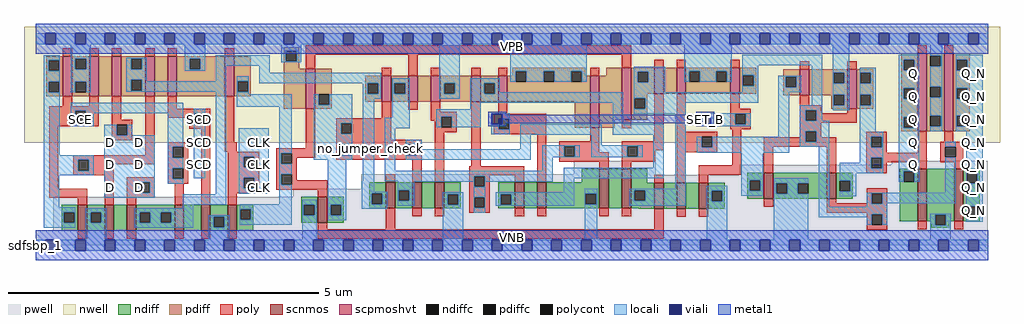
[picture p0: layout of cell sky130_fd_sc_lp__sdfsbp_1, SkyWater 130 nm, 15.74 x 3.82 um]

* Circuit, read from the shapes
.subckt sky130_fd_sc_lp__sdfsbp_1 CLK D SCD SCE SET_B VGND VNB VPB VPWR Q Q_N
XM1 VGND SCE n1 VNB sky130_fd_pr__nfet_01v8 w=0.42 l=0.15
XM2 n2 n1 VGND VNB sky130_fd_pr__nfet_01v8 w=0.42 l=0.15
XM3 n3 D n2 VNB sky130_fd_pr__nfet_01v8 w=0.42 l=0.15
XM4 n4 SCE n3 VNB sky130_fd_pr__nfet_01v8 w=0.42 l=0.15
XM5 VGND SCD n4 VNB sky130_fd_pr__nfet_01v8 w=0.42 l=0.15
XM6 n5 CLK VGND VNB sky130_fd_pr__nfet_01v8 w=0.42 l=0.15
XM7 n6 n5 VGND VNB sky130_fd_pr__nfet_01v8 w=0.42 l=0.15
XM8 n7 n5 n3 VNB sky130_fd_pr__nfet_01v8 w=0.42 l=0.15
XM9 n8 n6 n7 VNB sky130_fd_pr__nfet_01v8 w=0.42 l=0.15
XM10 VGND n9 n8 VNB sky130_fd_pr__nfet_01v8 w=0.42 l=0.15
XM11 n10 n7 n9 VNB sky130_fd_pr__nfet_01v8 w=0.42 l=0.15
XM12 VGND SET_B n10 VNB sky130_fd_pr__nfet_01v8 w=0.42 l=0.15
XM13 n11 n7 VGND VNB sky130_fd_pr__nfet_01v8 w=0.64 l=0.15
XM14 n12 n6 n11 VNB sky130_fd_pr__nfet_01v8 w=0.64 l=0.15
XM15 n13 n5 n12 VNB sky130_fd_pr__nfet_01v8 w=0.42 l=0.15
XM16 n14 n15 n13 VNB sky130_fd_pr__nfet_01v8 w=0.42 l=0.15
XM17 VGND SET_B n14 VNB sky130_fd_pr__nfet_01v8 w=0.42 l=0.15
XM18 VGND n12 n15 VNB sky130_fd_pr__nfet_01v8 w=0.42 l=0.15
XM19 n16 n12 VGND VNB sky130_fd_pr__nfet_01v8 w=0.42 l=0.15
XM20 VGND n16 Q VNB sky130_fd_pr__nfet_01v8 w=0.84 l=0.15
XM21 Q_N n12 VGND VNB sky130_fd_pr__nfet_01v8 w=0.84 l=0.15
XM22 VPWR SCE n1 VPB sky130_fd_pr__pfet_01v8_hvt w=0.64 l=0.15
XM23 n17 SCE VPWR VPB sky130_fd_pr__pfet_01v8_hvt w=0.64 l=0.15
XM24 n3 D n17 VPB sky130_fd_pr__pfet_01v8_hvt w=0.64 l=0.15
XM25 n18 n1 n3 VPB sky130_fd_pr__pfet_01v8_hvt w=0.64 l=0.15
XM26 VPWR SCD n18 VPB sky130_fd_pr__pfet_01v8_hvt w=0.64 l=0.15
XM27 n5 CLK VPWR VPB sky130_fd_pr__pfet_01v8_hvt w=0.64 l=0.15
XM28 n6 n5 VPWR VPB sky130_fd_pr__pfet_01v8_hvt w=0.64 l=0.15
XM29 n7 n6 n3 VPB sky130_fd_pr__pfet_01v8_hvt w=0.42 l=0.15
XM30 n19 n5 n7 VPB sky130_fd_pr__pfet_01v8_hvt w=0.42 l=0.15
XM31 VPWR n9 n19 VPB sky130_fd_pr__pfet_01v8_hvt w=0.42 l=0.15
XM32 n9 n7 VPWR VPB sky130_fd_pr__pfet_01v8_hvt w=0.42 l=0.15
XM33 VPWR SET_B n9 VPB sky130_fd_pr__pfet_01v8_hvt w=0.42 l=0.15
XM34 n20 n7 VPWR VPB sky130_fd_pr__pfet_01v8_hvt w=0.84 l=0.15
XM35 n12 n5 n20 VPB sky130_fd_pr__pfet_01v8_hvt w=0.84 l=0.15
XM36 n21 n6 n12 VPB sky130_fd_pr__pfet_01v8_hvt w=0.42 l=0.15
XM37 VPWR n15 n21 VPB sky130_fd_pr__pfet_01v8_hvt w=0.42 l=0.15
XM38 n12 SET_B VPWR VPB sky130_fd_pr__pfet_01v8_hvt w=0.42 l=0.15
XM39 VPWR n12 n15 VPB sky130_fd_pr__pfet_01v8_hvt w=0.42 l=0.15
XM40 n16 n12 VPWR VPB sky130_fd_pr__pfet_01v8_hvt w=0.64 l=0.15
XM41 VPWR n16 Q VPB sky130_fd_pr__pfet_01v8_hvt w=1.26 l=0.15
XM42 Q_N n12 VPWR VPB sky130_fd_pr__pfet_01v8_hvt w=1.26 l=0.15
.ends

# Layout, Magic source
magic
tech sky130A
magscale 1 2
<< nwell >>
rect -38 331 3110 704
<< pwell >>
rect 1735 229 1999 273
rect 2761 260 3071 272
rect 1050 228 1999 229
rect 2269 228 3071 260
rect 1050 183 3071 228
rect 831 157 3071 183
rect 57 49 3071 157
rect 0 0 3072 49
<< scnmos >>
rect 136 47 166 131
rect 222 47 252 131
rect 294 47 324 131
rect 448 47 478 131
rect 533 47 563 131
rect 619 47 649 131
rect 910 73 940 157
rect 1129 119 1159 203
rect 1215 119 1245 203
rect 1287 119 1317 203
rect 1545 119 1575 203
rect 1617 119 1647 203
rect 1818 119 1848 247
rect 1890 119 1920 247
rect 1995 118 2025 202
rect 2067 118 2097 202
rect 2139 118 2169 202
rect 2348 150 2378 234
rect 2552 150 2582 234
rect 2844 78 2874 246
rect 2962 78 2992 246
<< scpmoshvt >>
rect 87 481 117 609
rect 173 481 203 609
rect 245 481 275 609
rect 353 481 383 609
rect 425 481 455 609
rect 610 481 640 609
rect 871 441 901 569
rect 1116 463 1146 547
rect 1202 463 1232 547
rect 1274 463 1304 547
rect 1405 463 1435 547
rect 1491 463 1521 547
rect 1788 379 1818 547
rect 1890 404 1920 572
rect 1995 488 2025 572
rect 2067 488 2097 572
rect 2240 488 2270 572
rect 2464 484 2494 568
rect 2618 440 2648 568
rect 2844 367 2874 619
rect 2930 367 2960 619
<< ndiff >>
rect 1076 167 1129 203
rect 83 106 136 131
rect 83 72 91 106
rect 125 72 136 106
rect 83 47 136 72
rect 166 106 222 131
rect 166 72 177 106
rect 211 72 222 106
rect 166 47 222 72
rect 252 47 294 131
rect 324 106 448 131
rect 324 72 335 106
rect 369 72 403 106
rect 437 72 448 106
rect 324 47 448 72
rect 478 47 533 131
rect 563 92 619 131
rect 563 58 574 92
rect 608 58 619 92
rect 563 47 619 58
rect 649 116 702 131
rect 649 82 660 116
rect 694 82 702 116
rect 649 47 702 82
rect 857 130 910 157
rect 857 96 865 130
rect 899 96 910 130
rect 857 73 910 96
rect 940 130 993 157
rect 940 96 951 130
rect 985 96 993 130
rect 1076 133 1084 167
rect 1118 133 1129 167
rect 1076 119 1129 133
rect 1159 178 1215 203
rect 1159 144 1170 178
rect 1204 144 1215 178
rect 1159 119 1215 144
rect 1245 119 1287 203
rect 1317 165 1370 203
rect 1317 131 1328 165
rect 1362 131 1370 165
rect 1317 119 1370 131
rect 1761 203 1818 247
rect 940 73 993 96
rect 1492 165 1545 203
rect 1492 131 1500 165
rect 1534 131 1545 165
rect 1492 119 1545 131
rect 1575 119 1617 203
rect 1647 166 1818 203
rect 1647 132 1773 166
rect 1807 132 1818 166
rect 1647 119 1818 132
rect 1848 119 1890 247
rect 1920 202 1973 247
rect 2295 209 2348 234
rect 1920 178 1995 202
rect 1920 144 1931 178
rect 1965 144 1995 178
rect 1920 119 1995 144
rect 1945 118 1995 119
rect 2025 118 2067 202
rect 2097 118 2139 202
rect 2169 176 2222 202
rect 2169 142 2180 176
rect 2214 142 2222 176
rect 2295 175 2303 209
rect 2337 175 2348 209
rect 2295 150 2348 175
rect 2378 200 2552 234
rect 2378 166 2389 200
rect 2423 166 2457 200
rect 2491 166 2552 200
rect 2378 150 2552 166
rect 2582 208 2635 234
rect 2787 238 2844 246
rect 2582 174 2593 208
rect 2627 174 2635 208
rect 2787 204 2799 238
rect 2833 204 2844 238
rect 2582 150 2635 174
rect 2169 118 2222 142
rect 2787 78 2844 204
rect 2874 98 2962 246
rect 2874 78 2901 98
rect 2889 64 2901 78
rect 2935 78 2962 98
rect 2992 234 3045 246
rect 2992 200 3003 234
rect 3037 200 3045 234
rect 2992 126 3045 200
rect 2992 92 3003 126
rect 3037 92 3045 126
rect 2992 78 3045 92
rect 2935 64 2947 78
rect 2889 56 2947 64
<< pdiff >>
rect 799 627 849 639
rect 34 597 87 609
rect 34 563 42 597
rect 76 563 87 597
rect 34 527 87 563
rect 34 493 42 527
rect 76 493 87 527
rect 34 481 87 493
rect 117 601 173 609
rect 117 567 128 601
rect 162 567 173 601
rect 117 527 173 567
rect 117 493 128 527
rect 162 493 173 527
rect 117 481 173 493
rect 203 481 245 609
rect 275 601 353 609
rect 275 567 308 601
rect 342 567 353 601
rect 275 533 353 567
rect 275 499 308 533
rect 342 499 353 533
rect 275 481 353 499
rect 383 481 425 609
rect 455 601 610 609
rect 455 567 497 601
rect 531 567 610 601
rect 455 481 610 567
rect 640 529 693 609
rect 640 495 651 529
rect 685 495 693 529
rect 640 481 693 495
rect 799 593 807 627
rect 841 593 849 627
rect 799 569 849 593
rect 799 441 871 569
rect 901 487 954 569
rect 1536 562 1773 572
rect 1536 547 1548 562
rect 901 453 912 487
rect 946 453 954 487
rect 1063 522 1116 547
rect 1063 488 1071 522
rect 1105 488 1116 522
rect 1063 463 1116 488
rect 1146 522 1202 547
rect 1146 488 1157 522
rect 1191 488 1202 522
rect 1146 463 1202 488
rect 1232 463 1274 547
rect 1304 522 1405 547
rect 1304 488 1317 522
rect 1351 488 1405 522
rect 1304 463 1405 488
rect 1435 522 1491 547
rect 1435 488 1446 522
rect 1480 488 1491 522
rect 1435 463 1491 488
rect 1521 528 1548 547
rect 1582 528 1638 562
rect 1672 528 1727 562
rect 1761 547 1773 562
rect 2791 599 2844 619
rect 1840 547 1890 572
rect 1761 528 1788 547
rect 1521 463 1788 528
rect 901 441 954 453
rect 1738 379 1788 463
rect 1818 404 1890 547
rect 1920 560 1995 572
rect 1920 526 1941 560
rect 1975 526 1995 560
rect 1920 488 1995 526
rect 2025 488 2067 572
rect 2097 562 2240 572
rect 2097 528 2108 562
rect 2142 528 2195 562
rect 2229 528 2240 562
rect 2097 488 2240 528
rect 2270 548 2323 572
rect 2270 514 2281 548
rect 2315 514 2323 548
rect 2270 488 2323 514
rect 2411 543 2464 568
rect 2411 509 2419 543
rect 2453 509 2464 543
rect 1920 474 1973 488
rect 1920 440 1931 474
rect 1965 440 1973 474
rect 1920 404 1973 440
rect 1818 379 1868 404
rect 2411 484 2464 509
rect 2494 556 2618 568
rect 2494 522 2573 556
rect 2607 522 2618 556
rect 2494 486 2618 522
rect 2494 484 2573 486
rect 2565 452 2573 484
rect 2607 452 2618 486
rect 2565 440 2618 452
rect 2648 556 2701 568
rect 2648 522 2659 556
rect 2693 522 2701 556
rect 2648 486 2701 522
rect 2648 452 2659 486
rect 2693 452 2701 486
rect 2648 440 2701 452
rect 2791 565 2799 599
rect 2833 565 2844 599
rect 2791 506 2844 565
rect 2791 472 2799 506
rect 2833 472 2844 506
rect 2791 413 2844 472
rect 2791 379 2799 413
rect 2833 379 2844 413
rect 2791 367 2844 379
rect 2874 611 2930 619
rect 2874 577 2885 611
rect 2919 577 2930 611
rect 2874 511 2930 577
rect 2874 477 2885 511
rect 2919 477 2930 511
rect 2874 418 2930 477
rect 2874 384 2885 418
rect 2919 384 2930 418
rect 2874 367 2930 384
rect 2960 599 3013 619
rect 2960 565 2971 599
rect 3005 565 3013 599
rect 2960 506 3013 565
rect 2960 472 2971 506
rect 3005 472 3013 506
rect 2960 418 3013 472
rect 2960 384 2971 418
rect 3005 384 3013 418
rect 2960 367 3013 384
<< ndiffc >>
rect 91 72 125 106
rect 177 72 211 106
rect 335 72 369 106
rect 403 72 437 106
rect 574 58 608 92
rect 660 82 694 116
rect 865 96 899 130
rect 951 96 985 130
rect 1084 133 1118 167
rect 1170 144 1204 178
rect 1328 131 1362 165
rect 1500 131 1534 165
rect 1773 132 1807 166
rect 1931 144 1965 178
rect 2180 142 2214 176
rect 2303 175 2337 209
rect 2389 166 2423 200
rect 2457 166 2491 200
rect 2593 174 2627 208
rect 2799 204 2833 238
rect 2901 64 2935 98
rect 3003 200 3037 234
rect 3003 92 3037 126
<< pdiffc >>
rect 42 563 76 597
rect 42 493 76 527
rect 128 567 162 601
rect 128 493 162 527
rect 308 567 342 601
rect 308 499 342 533
rect 497 567 531 601
rect 651 495 685 529
rect 807 593 841 627
rect 912 453 946 487
rect 1071 488 1105 522
rect 1157 488 1191 522
rect 1317 488 1351 522
rect 1446 488 1480 522
rect 1548 528 1582 562
rect 1638 528 1672 562
rect 1727 528 1761 562
rect 1941 526 1975 560
rect 2108 528 2142 562
rect 2195 528 2229 562
rect 2281 514 2315 548
rect 2419 509 2453 543
rect 1931 440 1965 474
rect 2573 522 2607 556
rect 2573 452 2607 486
rect 2659 522 2693 556
rect 2659 452 2693 486
rect 2799 565 2833 599
rect 2799 472 2833 506
rect 2799 379 2833 413
rect 2885 577 2919 611
rect 2885 477 2919 511
rect 2885 384 2919 418
rect 2971 565 3005 599
rect 2971 472 3005 506
rect 2971 384 3005 418
<< poly >>
rect 87 609 117 635
rect 173 609 203 635
rect 245 609 275 635
rect 353 609 383 635
rect 425 609 455 635
rect 610 609 640 635
rect 871 615 1920 645
rect 2844 619 2874 645
rect 2930 619 2960 645
rect 871 569 901 615
rect 87 449 117 481
rect 173 449 203 481
rect 43 433 203 449
rect 43 399 127 433
rect 161 399 203 433
rect 43 383 203 399
rect 245 405 275 481
rect 245 389 311 405
rect 43 183 73 383
rect 245 355 261 389
rect 295 355 311 389
rect 245 339 311 355
rect 353 291 383 481
rect 425 441 455 481
rect 425 425 563 441
rect 425 411 511 425
rect 495 391 511 411
rect 545 391 563 425
rect 495 375 563 391
rect 121 275 383 291
rect 121 241 137 275
rect 171 261 383 275
rect 425 317 491 333
rect 425 283 441 317
rect 475 283 491 317
rect 171 241 252 261
rect 121 225 252 241
rect 43 153 166 183
rect 136 131 166 153
rect 222 131 252 225
rect 425 249 491 283
rect 294 203 383 219
rect 294 169 333 203
rect 367 169 383 203
rect 425 215 441 249
rect 475 215 491 249
rect 425 199 491 215
rect 294 153 383 169
rect 294 131 324 153
rect 448 131 478 199
rect 533 131 563 375
rect 610 332 640 481
rect 1116 547 1146 573
rect 1202 547 1232 615
rect 1274 547 1304 573
rect 1405 547 1435 573
rect 1491 547 1521 573
rect 1788 547 1818 573
rect 1890 572 1920 615
rect 1995 572 2025 598
rect 2067 572 2097 598
rect 2240 572 2270 598
rect 610 302 649 332
rect 871 313 901 441
rect 1116 409 1146 463
rect 1202 437 1232 463
rect 619 286 721 302
rect 619 252 671 286
rect 705 252 721 286
rect 619 218 721 252
rect 619 184 671 218
rect 705 184 721 218
rect 619 168 721 184
rect 775 297 901 313
rect 775 263 791 297
rect 825 283 901 297
rect 969 393 1146 409
rect 1274 431 1304 463
rect 1274 415 1357 431
rect 1274 401 1307 415
rect 969 359 985 393
rect 1019 359 1146 393
rect 969 341 1146 359
rect 1287 381 1307 401
rect 1341 381 1357 415
rect 1287 365 1357 381
rect 969 325 1245 341
rect 969 291 985 325
rect 1019 291 1195 325
rect 1229 291 1245 325
rect 825 263 841 283
rect 969 275 1245 291
rect 775 229 841 263
rect 775 195 791 229
rect 825 209 841 229
rect 825 195 940 209
rect 1129 203 1159 229
rect 1215 203 1245 275
rect 1287 203 1317 365
rect 1405 255 1435 463
rect 1491 424 1521 463
rect 1477 408 1647 424
rect 1477 374 1493 408
rect 1527 374 1647 408
rect 2464 568 2494 594
rect 2618 568 2648 594
rect 1477 358 1647 374
rect 1398 225 1575 255
rect 1398 223 1464 225
rect 775 179 940 195
rect 619 131 649 168
rect 910 157 940 179
rect 1398 189 1414 223
rect 1448 189 1464 223
rect 1545 203 1575 225
rect 1617 203 1647 358
rect 1788 336 1818 379
rect 1890 378 1920 404
rect 1995 336 2025 488
rect 1689 320 1818 336
rect 1689 286 1705 320
rect 1739 300 1818 320
rect 1890 320 2025 336
rect 1739 286 1848 300
rect 1689 270 1848 286
rect 1818 247 1848 270
rect 1890 286 1908 320
rect 1942 306 2025 320
rect 2067 366 2097 488
rect 2240 440 2270 488
rect 2464 452 2494 484
rect 2240 424 2306 440
rect 2240 390 2256 424
rect 2290 390 2306 424
rect 2240 374 2306 390
rect 2464 436 2533 452
rect 2464 402 2483 436
rect 2517 425 2533 436
rect 2618 425 2648 440
rect 2517 402 2648 425
rect 2464 395 2648 402
rect 2067 350 2198 366
rect 2067 316 2148 350
rect 2182 316 2198 350
rect 1942 286 1998 306
rect 1890 270 1998 286
rect 2067 300 2198 316
rect 1890 247 1920 270
rect 1398 155 1464 189
rect 1398 121 1414 155
rect 1448 121 1464 155
rect 910 51 940 73
rect 1129 51 1159 119
rect 1215 93 1245 119
rect 1287 93 1317 119
rect 1398 105 1464 121
rect 1995 202 2025 228
rect 2067 202 2097 300
rect 2246 258 2276 374
rect 2464 368 2533 395
rect 2464 348 2483 368
rect 2139 228 2276 258
rect 2348 334 2483 348
rect 2517 348 2533 368
rect 2679 350 2745 366
rect 2517 334 2582 348
rect 2348 318 2582 334
rect 2348 234 2378 318
rect 2552 234 2582 318
rect 2679 316 2695 350
rect 2729 316 2745 350
rect 2679 298 2745 316
rect 2844 298 2874 367
rect 2930 334 2960 367
rect 2679 282 2874 298
rect 2679 248 2695 282
rect 2729 268 2874 282
rect 2917 318 2992 334
rect 2917 284 2933 318
rect 2967 284 2992 318
rect 2917 268 2992 284
rect 2729 248 2745 268
rect 2139 202 2169 228
rect 1545 93 1575 119
rect 1617 93 1647 119
rect 1818 93 1848 119
rect 1890 93 1920 119
rect 2679 232 2745 248
rect 2844 246 2874 268
rect 2962 246 2992 268
rect 2681 168 2747 184
rect 2348 124 2378 150
rect 2552 135 2582 150
rect 2681 135 2697 168
rect 2552 134 2697 135
rect 2731 134 2747 168
rect 1995 51 2025 118
rect 2067 92 2097 118
rect 2139 92 2169 118
rect 2552 105 2747 134
rect 2681 100 2747 105
rect 136 21 166 47
rect 222 21 252 47
rect 294 21 324 47
rect 448 21 478 47
rect 533 21 563 47
rect 619 21 649 47
rect 910 21 2025 51
rect 2681 66 2697 100
rect 2731 66 2747 100
rect 2681 50 2747 66
rect 2844 52 2874 78
rect 2962 52 2992 78
<< polycont >>
rect 127 399 161 433
rect 261 355 295 389
rect 511 391 545 425
rect 137 241 171 275
rect 441 283 475 317
rect 333 169 367 203
rect 441 215 475 249
rect 671 252 705 286
rect 671 184 705 218
rect 791 263 825 297
rect 985 359 1019 393
rect 1307 381 1341 415
rect 985 291 1019 325
rect 1195 291 1229 325
rect 791 195 825 229
rect 1493 374 1527 408
rect 1414 189 1448 223
rect 1705 286 1739 320
rect 1908 286 1942 320
rect 2256 390 2290 424
rect 2483 402 2517 436
rect 2148 316 2182 350
rect 1414 121 1448 155
rect 2483 334 2517 368
rect 2695 316 2729 350
rect 2695 248 2729 282
rect 2933 284 2967 318
rect 2697 134 2731 168
rect 2697 66 2731 100
<< locali >>
rect 0 649 31 683
rect 65 649 127 683
rect 161 649 223 683
rect 257 649 319 683
rect 353 649 415 683
rect 449 649 511 683
rect 545 649 607 683
rect 641 649 703 683
rect 737 649 799 683
rect 833 649 895 683
rect 929 649 991 683
rect 1025 649 1087 683
rect 1121 649 1183 683
rect 1217 649 1279 683
rect 1313 649 1375 683
rect 1409 649 1471 683
rect 1505 649 1567 683
rect 1601 649 1663 683
rect 1697 649 1759 683
rect 1793 649 1855 683
rect 1889 649 1951 683
rect 1985 649 2047 683
rect 2081 649 2143 683
rect 2177 649 2239 683
rect 2273 649 2335 683
rect 2369 649 2431 683
rect 2465 649 2527 683
rect 2561 649 2623 683
rect 2657 649 2719 683
rect 2753 649 2815 683
rect 2849 649 2911 683
rect 2945 649 3007 683
rect 3041 649 3072 683
rect 26 597 78 613
rect 26 563 42 597
rect 76 563 78 597
rect 26 527 78 563
rect 26 493 42 527
rect 76 493 78 527
rect 112 601 178 649
rect 112 567 128 601
rect 162 567 178 601
rect 112 527 178 567
rect 112 493 128 527
rect 162 493 178 527
rect 292 601 358 605
rect 292 567 308 601
rect 342 567 358 601
rect 292 533 358 567
rect 481 601 547 649
rect 791 627 857 649
rect 481 567 497 601
rect 531 567 547 601
rect 481 563 547 567
rect 581 579 755 613
rect 791 593 807 627
rect 841 593 857 627
rect 791 591 857 593
rect 292 499 308 533
rect 342 529 358 533
rect 581 529 615 579
rect 721 557 755 579
rect 342 499 615 529
rect 292 495 615 499
rect 26 291 78 493
rect 112 433 475 459
rect 112 399 127 433
rect 161 425 475 433
rect 161 399 187 425
rect 112 383 187 399
rect 221 355 261 389
rect 295 355 311 389
rect 26 275 187 291
rect 26 241 137 275
rect 171 241 187 275
rect 26 225 187 241
rect 26 122 76 225
rect 221 203 383 355
rect 221 169 333 203
rect 367 169 383 203
rect 425 317 475 425
rect 425 283 441 317
rect 425 249 475 283
rect 425 215 441 249
rect 509 425 547 441
rect 509 391 511 425
rect 545 391 547 425
rect 509 216 547 391
rect 425 199 475 215
rect 221 153 383 169
rect 581 165 615 495
rect 649 529 687 545
rect 649 495 651 529
rect 685 495 687 529
rect 721 523 1115 557
rect 649 487 687 495
rect 1055 522 1115 523
rect 1055 488 1071 522
rect 1105 488 1115 522
rect 649 446 825 487
rect 655 286 751 377
rect 655 252 671 286
rect 705 252 751 286
rect 655 218 751 252
rect 655 184 671 218
rect 705 184 751 218
rect 655 166 751 184
rect 785 297 825 446
rect 785 263 791 297
rect 896 453 912 487
rect 946 453 1021 487
rect 896 393 1021 453
rect 896 359 985 393
rect 1019 359 1021 393
rect 896 325 1021 359
rect 896 291 985 325
rect 1019 291 1021 325
rect 896 275 1021 291
rect 1055 472 1115 488
rect 1149 522 1207 538
rect 1149 488 1157 522
rect 1191 488 1207 522
rect 785 229 825 263
rect 785 195 791 229
rect 474 131 615 165
rect 785 132 825 195
rect 26 106 127 122
rect 474 119 508 131
rect 26 72 91 106
rect 125 72 127 106
rect 26 56 127 72
rect 161 106 227 119
rect 161 72 177 106
rect 211 72 227 106
rect 161 17 227 72
rect 319 106 508 119
rect 319 72 335 106
rect 369 72 403 106
rect 437 72 508 106
rect 658 116 825 132
rect 319 56 508 72
rect 558 92 624 97
rect 558 58 574 92
rect 608 58 624 92
rect 658 82 660 116
rect 694 82 825 116
rect 658 66 825 82
rect 859 130 907 146
rect 859 96 865 130
rect 899 96 907 130
rect 558 17 624 58
rect 859 17 907 96
rect 941 130 1001 275
rect 1055 207 1091 472
rect 1149 411 1207 488
rect 1301 522 1367 649
rect 1530 562 1777 649
rect 1301 488 1317 522
rect 1351 488 1367 522
rect 1301 472 1367 488
rect 1401 522 1496 538
rect 1530 528 1548 562
rect 1582 528 1638 562
rect 1672 528 1727 562
rect 1761 528 1777 562
rect 1929 560 2030 576
rect 1401 488 1446 522
rect 1480 494 1496 522
rect 1929 526 1941 560
rect 1975 526 2030 560
rect 2092 562 2245 649
rect 2092 528 2108 562
rect 2142 528 2195 562
rect 2229 528 2245 562
rect 2279 581 2537 615
rect 2279 548 2331 581
rect 1929 494 2030 526
rect 2279 514 2281 548
rect 2315 514 2331 548
rect 2279 494 2331 514
rect 1480 488 1895 494
rect 1401 460 1895 488
rect 1401 438 1435 460
rect 1125 377 1207 411
rect 1291 415 1435 438
rect 1291 381 1307 415
rect 1341 381 1435 415
rect 1469 424 1529 426
rect 1469 390 1471 424
rect 1505 408 1529 424
rect 1125 241 1159 377
rect 1469 374 1493 390
rect 1527 374 1529 408
rect 1861 390 1895 460
rect 1929 474 2331 494
rect 1929 440 1931 474
rect 1965 460 2331 474
rect 2395 543 2469 547
rect 2395 509 2419 543
rect 2453 509 2469 543
rect 2395 493 2469 509
rect 1965 440 2096 460
rect 1929 424 2096 440
rect 1469 358 1529 374
rect 1563 356 1825 390
rect 1861 356 2026 390
rect 1193 325 1245 341
rect 1193 291 1195 325
rect 1229 309 1245 325
rect 1563 309 1597 356
rect 1791 322 1825 356
rect 1229 291 1597 309
rect 1193 275 1597 291
rect 1633 320 1755 322
rect 1633 286 1705 320
rect 1739 286 1755 320
rect 1633 284 1755 286
rect 1791 320 1958 322
rect 1791 286 1908 320
rect 1942 286 1958 320
rect 1791 284 1958 286
rect 1633 241 1667 284
rect 1992 250 2026 356
rect 1125 223 1667 241
rect 1125 207 1414 223
rect 941 96 951 130
rect 985 96 1001 130
rect 1051 173 1091 207
rect 1168 205 1414 207
rect 1168 178 1220 205
rect 1051 167 1134 173
rect 1051 133 1084 167
rect 1118 133 1134 167
rect 1051 117 1134 133
rect 1168 144 1170 178
rect 1204 144 1220 178
rect 1412 189 1414 205
rect 1448 205 1667 223
rect 1703 216 2026 250
rect 1448 189 1450 205
rect 1168 128 1220 144
rect 1312 165 1378 171
rect 1312 131 1328 165
rect 1362 131 1378 165
rect 941 80 1001 96
rect 1312 17 1378 131
rect 1412 155 1450 189
rect 1703 171 1737 216
rect 2062 182 2096 424
rect 2130 424 2306 426
rect 2130 390 2143 424
rect 2177 390 2256 424
rect 2290 390 2306 424
rect 2130 384 2306 390
rect 2395 350 2430 493
rect 2503 452 2537 581
rect 2132 316 2148 350
rect 2182 316 2430 350
rect 2464 436 2537 452
rect 2571 556 2623 649
rect 2783 599 2850 615
rect 2571 522 2573 556
rect 2607 522 2623 556
rect 2571 486 2623 522
rect 2571 452 2573 486
rect 2607 452 2623 486
rect 2571 436 2623 452
rect 2657 556 2709 572
rect 2657 522 2659 556
rect 2693 522 2709 556
rect 2657 486 2709 522
rect 2657 452 2659 486
rect 2693 452 2709 486
rect 2464 402 2483 436
rect 2517 402 2537 436
rect 2464 368 2559 402
rect 2464 334 2483 368
rect 2517 334 2559 368
rect 2464 318 2559 334
rect 2132 299 2430 316
rect 2275 209 2346 299
rect 1412 121 1414 155
rect 1448 121 1450 155
rect 1484 165 1737 171
rect 1484 131 1500 165
rect 1534 131 1737 165
rect 1484 127 1737 131
rect 1771 166 1811 182
rect 1771 132 1773 166
rect 1807 132 1811 166
rect 1412 105 1450 121
rect 1771 17 1811 132
rect 1915 178 2096 182
rect 1915 144 1931 178
rect 1965 144 2096 178
rect 1915 128 2096 144
rect 2164 176 2230 192
rect 2164 142 2180 176
rect 2214 142 2230 176
rect 2275 175 2303 209
rect 2337 175 2346 209
rect 2275 159 2346 175
rect 2380 200 2491 216
rect 2380 166 2389 200
rect 2423 166 2457 200
rect 2164 17 2230 142
rect 2380 17 2491 166
rect 2525 124 2559 318
rect 2657 366 2709 452
rect 2783 565 2799 599
rect 2833 565 2850 599
rect 2783 506 2850 565
rect 2783 472 2799 506
rect 2833 472 2850 506
rect 2783 413 2850 472
rect 2783 379 2799 413
rect 2833 379 2850 413
rect 2657 350 2733 366
rect 2657 316 2695 350
rect 2729 316 2733 350
rect 2657 282 2733 316
rect 2657 266 2695 282
rect 2593 248 2695 266
rect 2729 248 2733 282
rect 2593 232 2733 248
rect 2783 238 2850 379
rect 2885 611 2923 649
rect 2919 577 2923 611
rect 2885 511 2923 577
rect 2919 477 2923 511
rect 2885 418 2923 477
rect 2919 384 2923 418
rect 2885 368 2923 384
rect 2967 599 3055 615
rect 2967 565 2971 599
rect 3005 565 3055 599
rect 2967 506 3055 565
rect 2967 472 2971 506
rect 3005 472 3055 506
rect 2967 418 3055 472
rect 2967 384 2971 418
rect 3005 384 3055 418
rect 2967 368 3055 384
rect 2593 208 2647 232
rect 2627 174 2647 208
rect 2783 204 2799 238
rect 2833 204 2850 238
rect 2933 318 2967 334
rect 2593 158 2647 174
rect 2933 170 2967 284
rect 2681 168 2967 170
rect 2681 134 2697 168
rect 2731 136 2967 168
rect 3001 234 3055 368
rect 3001 200 3003 234
rect 3037 200 3055 234
rect 2731 134 2747 136
rect 2681 124 2747 134
rect 2525 100 2747 124
rect 3001 126 3055 200
rect 2525 90 2697 100
rect 2681 66 2697 90
rect 2731 66 2747 100
rect 2885 98 2951 102
rect 2885 64 2901 98
rect 2935 64 2951 98
rect 3001 92 3003 126
rect 3037 92 3055 126
rect 3001 76 3055 92
rect 2885 17 2951 64
rect 0 -17 31 17
rect 65 -17 127 17
rect 161 -17 223 17
rect 257 -17 319 17
rect 353 -17 415 17
rect 449 -17 511 17
rect 545 -17 607 17
rect 641 -17 703 17
rect 737 -17 799 17
rect 833 -17 895 17
rect 929 -17 991 17
rect 1025 -17 1087 17
rect 1121 -17 1183 17
rect 1217 -17 1279 17
rect 1313 -17 1375 17
rect 1409 -17 1471 17
rect 1505 -17 1567 17
rect 1601 -17 1663 17
rect 1697 -17 1759 17
rect 1793 -17 1855 17
rect 1889 -17 1951 17
rect 1985 -17 2047 17
rect 2081 -17 2143 17
rect 2177 -17 2239 17
rect 2273 -17 2335 17
rect 2369 -17 2431 17
rect 2465 -17 2527 17
rect 2561 -17 2623 17
rect 2657 -17 2719 17
rect 2753 -17 2815 17
rect 2849 -17 2911 17
rect 2945 -17 3007 17
rect 3041 -17 3072 17
<< viali >>
rect 31 649 65 683
rect 127 649 161 683
rect 223 649 257 683
rect 319 649 353 683
rect 415 649 449 683
rect 511 649 545 683
rect 607 649 641 683
rect 703 649 737 683
rect 799 649 833 683
rect 895 649 929 683
rect 991 649 1025 683
rect 1087 649 1121 683
rect 1183 649 1217 683
rect 1279 649 1313 683
rect 1375 649 1409 683
rect 1471 649 1505 683
rect 1567 649 1601 683
rect 1663 649 1697 683
rect 1759 649 1793 683
rect 1855 649 1889 683
rect 1951 649 1985 683
rect 2047 649 2081 683
rect 2143 649 2177 683
rect 2239 649 2273 683
rect 2335 649 2369 683
rect 2431 649 2465 683
rect 2527 649 2561 683
rect 2623 649 2657 683
rect 2719 649 2753 683
rect 2815 649 2849 683
rect 2911 649 2945 683
rect 3007 649 3041 683
rect 1471 408 1505 424
rect 1471 390 1493 408
rect 1493 390 1505 408
rect 2143 390 2177 424
rect 31 -17 65 17
rect 127 -17 161 17
rect 223 -17 257 17
rect 319 -17 353 17
rect 415 -17 449 17
rect 511 -17 545 17
rect 607 -17 641 17
rect 703 -17 737 17
rect 799 -17 833 17
rect 895 -17 929 17
rect 991 -17 1025 17
rect 1087 -17 1121 17
rect 1183 -17 1217 17
rect 1279 -17 1313 17
rect 1375 -17 1409 17
rect 1471 -17 1505 17
rect 1567 -17 1601 17
rect 1663 -17 1697 17
rect 1759 -17 1793 17
rect 1855 -17 1889 17
rect 1951 -17 1985 17
rect 2047 -17 2081 17
rect 2143 -17 2177 17
rect 2239 -17 2273 17
rect 2335 -17 2369 17
rect 2431 -17 2465 17
rect 2527 -17 2561 17
rect 2623 -17 2657 17
rect 2719 -17 2753 17
rect 2815 -17 2849 17
rect 2911 -17 2945 17
rect 3007 -17 3041 17
<< metal1 >>
rect 0 683 3072 715
rect 0 649 31 683
rect 65 649 127 683
rect 161 649 223 683
rect 257 649 319 683
rect 353 649 415 683
rect 449 649 511 683
rect 545 649 607 683
rect 641 649 703 683
rect 737 649 799 683
rect 833 649 895 683
rect 929 649 991 683
rect 1025 649 1087 683
rect 1121 649 1183 683
rect 1217 649 1279 683
rect 1313 649 1375 683
rect 1409 649 1471 683
rect 1505 649 1567 683
rect 1601 649 1663 683
rect 1697 649 1759 683
rect 1793 649 1855 683
rect 1889 649 1951 683
rect 1985 649 2047 683
rect 2081 649 2143 683
rect 2177 649 2239 683
rect 2273 649 2335 683
rect 2369 649 2431 683
rect 2465 649 2527 683
rect 2561 649 2623 683
rect 2657 649 2719 683
rect 2753 649 2815 683
rect 2849 649 2911 683
rect 2945 649 3007 683
rect 3041 649 3072 683
rect 0 617 3072 649
rect 1459 424 1517 430
rect 1459 390 1471 424
rect 1505 421 1517 424
rect 2131 424 2189 430
rect 2131 421 2143 424
rect 1505 393 2143 421
rect 1505 390 1517 393
rect 1459 384 1517 390
rect 2131 390 2143 393
rect 2177 390 2189 424
rect 2131 384 2189 390
rect 0 17 3072 49
rect 0 -17 31 17
rect 65 -17 127 17
rect 161 -17 223 17
rect 257 -17 319 17
rect 353 -17 415 17
rect 449 -17 511 17
rect 545 -17 607 17
rect 641 -17 703 17
rect 737 -17 799 17
rect 833 -17 895 17
rect 929 -17 991 17
rect 1025 -17 1087 17
rect 1121 -17 1183 17
rect 1217 -17 1279 17
rect 1313 -17 1375 17
rect 1409 -17 1471 17
rect 1505 -17 1567 17
rect 1601 -17 1663 17
rect 1697 -17 1759 17
rect 1793 -17 1855 17
rect 1889 -17 1951 17
rect 1985 -17 2047 17
rect 2081 -17 2143 17
rect 2177 -17 2239 17
rect 2273 -17 2335 17
rect 2369 -17 2431 17
rect 2465 -17 2527 17
rect 2561 -17 2623 17
rect 2657 -17 2719 17
rect 2753 -17 2815 17
rect 2849 -17 2911 17
rect 2945 -17 3007 17
rect 3041 -17 3072 17
rect 0 -49 3072 -17
<< labels >>
flabel pwell s 0 0 3072 49 0 FreeSans 200 0 0 0 VNB
port 7 nsew ground bidirectional
flabel nwell s 0 617 3072 666 0 FreeSans 200 0 0 0 VPB
port 8 nsew power bidirectional
rlabel comment s 0 0 0 0 4 sdfsbp_1
flabel comment s 1080 312 1080 312 0 FreeSans 200 0 0 0 no_jumper_check
flabel metal1 s 2143 390 2177 424 0 FreeSans 200 0 0 0 SET_B
port 5 nsew signal input
flabel metal1 s 0 617 3072 666 0 FreeSans 340 0 0 0 VPWR
port 9 nsew power bidirectional
flabel metal1 s 0 0 3072 49 0 FreeSans 340 0 0 0 VGND
port 6 nsew ground bidirectional
flabel locali s 703 168 737 202 0 FreeSans 340 0 0 0 CLK
port 1 nsew clock input
flabel locali s 703 242 737 276 0 FreeSans 340 0 0 0 CLK
port 1 nsew clock input
flabel locali s 703 316 737 350 0 FreeSans 340 0 0 0 CLK
port 1 nsew clock input
flabel locali s 127 390 161 424 0 FreeSans 340 0 0 0 SCE
port 4 nsew signal input
flabel locali s 511 242 545 276 0 FreeSans 340 0 0 0 SCD
port 3 nsew signal input
flabel locali s 511 316 545 350 0 FreeSans 340 0 0 0 SCD
port 3 nsew signal input
flabel locali s 511 390 545 424 0 FreeSans 340 0 0 0 SCD
port 3 nsew signal input
flabel locali s 223 168 257 202 0 FreeSans 340 0 0 0 D
port 2 nsew signal input
flabel locali s 223 242 257 276 0 FreeSans 340 0 0 0 D
port 2 nsew signal input
flabel locali s 223 316 257 350 0 FreeSans 340 0 0 0 D
port 2 nsew signal input
flabel locali s 319 168 353 202 0 FreeSans 340 0 0 0 D
port 2 nsew signal input
flabel locali s 319 242 353 276 0 FreeSans 340 0 0 0 D
port 2 nsew signal input
flabel locali s 319 316 353 350 0 FreeSans 340 0 0 0 D
port 2 nsew signal input
flabel locali s 2815 242 2849 276 0 FreeSans 340 0 0 0 Q
port 10 nsew signal output
flabel locali s 2815 316 2849 350 0 FreeSans 340 0 0 0 Q
port 10 nsew signal output
flabel locali s 2815 390 2849 424 0 FreeSans 340 0 0 0 Q
port 10 nsew signal output
flabel locali s 2815 464 2849 498 0 FreeSans 340 0 0 0 Q
port 10 nsew signal output
flabel locali s 2815 538 2849 572 0 FreeSans 340 0 0 0 Q
port 10 nsew signal output
flabel locali s 3007 94 3041 128 0 FreeSans 340 0 0 0 Q_N
port 11 nsew signal output
flabel locali s 3007 168 3041 202 0 FreeSans 340 0 0 0 Q_N
port 11 nsew signal output
flabel locali s 3007 242 3041 276 0 FreeSans 340 0 0 0 Q_N
port 11 nsew signal output
flabel locali s 3007 316 3041 350 0 FreeSans 340 0 0 0 Q_N
port 11 nsew signal output
flabel locali s 3007 390 3041 424 0 FreeSans 340 0 0 0 Q_N
port 11 nsew signal output
flabel locali s 3007 464 3041 498 0 FreeSans 340 0 0 0 Q_N
port 11 nsew signal output
flabel locali s 3007 538 3041 572 0 FreeSans 340 0 0 0 Q_N
port 11 nsew signal output
<< properties >>
string LEFsite unit
string LEFclass CORE
string FIXED_BBOX 0 0 3072 666
string GDS_FILE $PDKPATH/libs.ref/sky130_fd_sc_lp/gds/sky130_fd_sc_lp.gds
string LEFsymmetry X Y R90
string GDS_END 5572168
string GDS_START 5550242
<< end >>
